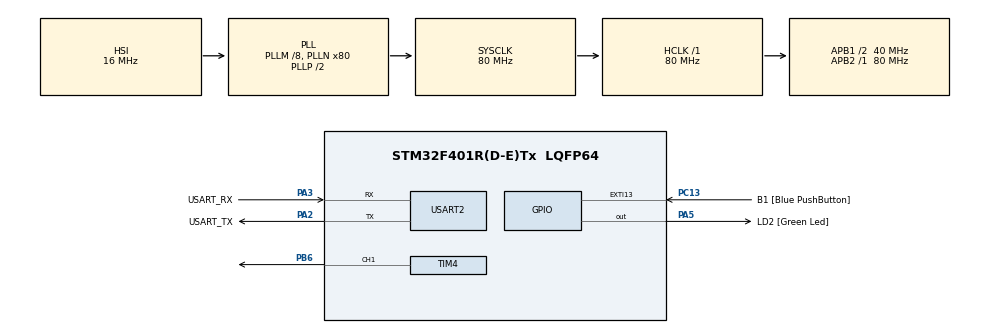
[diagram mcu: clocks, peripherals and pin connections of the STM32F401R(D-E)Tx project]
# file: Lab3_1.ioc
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Mcu.Family=STM32F4
Mcu.Name=STM32F401R(D-E)Tx
Mcu.Package=LQFP64
NVIC.EXTI15_10_IRQn=true\:2\:0\:true\:false\:true\:true\:true
NVIC.PriorityGroup=NVIC_PRIORITYGROUP_2
NVIC.TIM4_IRQn=true\:0\:0\:false\:false\:true\:true\:true
PA13.GPIO_Label=TMS
PA13.Mode=Serial_Wire
PA13.Signal=SYS_JTMS-SWDIO
PA14.GPIO_Label=TCK
PA14.Mode=Serial_Wire
PA14.Signal=SYS_JTCK-SWCLK
PA2.GPIO_Label=USART_TX
PA2.GPIO_Mode=GPIO_MODE_AF_PP
PA2.GPIO_PuPd=GPIO_NOPULL
PA2.GPIO_Speed=GPIO_SPEED_FREQ_LOW
PA2.Mode=Asynchronous
PA2.Signal=USART2_TX
PA3.GPIO_Label=USART_RX
PA3.GPIO_Mode=GPIO_MODE_AF_PP
PA3.GPIO_PuPd=GPIO_NOPULL
PA3.GPIO_Speed=GPIO_SPEED_FREQ_LOW
PA3.Mode=Asynchronous
PA3.Signal=USART2_RX
PA5.GPIO_Label=LD2 [Green Led]
PA5.GPIO_Mode=GPIO_MODE_OUTPUT_PP
PA5.GPIO_PuPd=GPIO_NOPULL
PA5.GPIO_Speed=GPIO_SPEED_FREQ_LOW
PA5.Signal=GPIO_Output
PB3.GPIO_Label=SWO
PB3.Signal=SYS_JTDO-SWO
PB6.Signal=S_TIM4_CH1
PC13-ANTI_TAMP.GPIO_Label=B1 [Blue PushButton]
PC13-ANTI_TAMP.GPIO_ModeDefaultEXTI=GPIO_MODE_IT_FALLING
PC13-ANTI_TAMP.GPIO_PuPd=GPIO_NOPULL
PC13-ANTI_TAMP.Signal=GPXTI13
PC14-OSC32_IN.Mode=LSE-External-Oscillator
PC14-OSC32_IN.Signal=RCC_OSC32_IN
PC15-OSC32_OUT.Mode=LSE-External-Oscillator
PC15-OSC32_OUT.Signal=RCC_OSC32_OUT
PH0\ -\ OSC_IN.Mode=HSE-External-Clock-Source
PH0\ -\ OSC_IN.Signal=RCC_OSC_IN
PH1\ -\ OSC_OUT.Mode=HSE-External-Clock-Source
PH1\ -\ OSC_OUT.Signal=RCC_OSC_OUT
ProjectManager.HeapSize=0x200
ProjectManager.StackSize=0x400
ProjectManager.TargetToolchain=STM32CubeIDE
RCC.48MHZClocksFreq_Value=22857142.85714286
RCC.AHBFreq_Value=80000000
RCC.APB1CLKDivider=RCC_HCLK_DIV2
RCC.APB1Freq_Value=40000000
RCC.APB1TimFreq_Value=80000000
RCC.APB2Freq_Value=80000000
RCC.APB2TimFreq_Value=80000000
RCC.CortexFreq_Value=80000000
RCC.HCLKFreq_Value=80000000
RCC.HSE_VALUE=8000000
RCC.HSI_VALUE=16000000
RCC.PLLM=8
RCC.PLLN=80
RCC.PLLQ=7
RCC.SYSCLKFreq_VALUE=80000000
RCC.SYSCLKSource=RCC_SYSCLKSOURCE_PLLCLK
RCC.VCOOutputFreq_Value=160000000
SH.S_TIM4_CH1.0=TIM4_CH1,PWM Generation1 CH1
TIM4.AutoReloadPreload=TIM_AUTORELOAD_PRELOAD_DISABLE
TIM4.Channel-PWM\ Generation1\ CH1=TIM_CHANNEL_1
TIM4.Period=10000-1
TIM4.Prescaler=8000-1
TIM4.Pulse-PWM\ Generation1\ CH1=100-1
USART2.VirtualMode=VM_ASYNC
VP_TIM4_VS_ClockSourceINT.Mode=Internal
board=NUCLEO-F401RE

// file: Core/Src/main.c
/* USER CODE BEGIN Header */
/**
  ******************************************************************************
  * @file           : main.c
  * @brief          : Main program body
  ******************************************************************************
  * @attention
  *
  * Copyright (c) 2022 STMicroelectronics.
  * All rights reserved.
  *
  * This software is licensed under terms that can be found in the LICENSE file
  * in the root directory of this software component.
  * If no LICENSE file comes with this software, it is provided AS-IS.
  *
  ******************************************************************************
  */
/* USER CODE END Header */
#include "main.h"

TIM_HandleTypeDef htim4;

UART_HandleTypeDef huart2;

void SystemClock_Config(void);
static void MX_GPIO_Init(void);
static void MX_USART2_UART_Init(void);
static void MX_TIM4_Init(void);

/* USER CODE BEGIN 0 */

//uint16_t timer_val;
//uint16_t interval[] = {2000,10000,50000};
//int p = 0;
int state = 0;

void HAL_GPIO_EXTI_Callback(uint16_t GPIO_Pin){
	//HAL_GPIO_TogglePin(LD2_GPIO_Port, LD2_Pin);

	state = (state+1)%3;
	//p = (p+1)%3;
	while(HAL_GPIO_ReadPin(B1_GPIO_Port, B1_Pin));
	HAL_Delay(100);
	__HAL_GPIO_EXTI_CLEAR_IT(GPIO_Pin);
}

/* USER CODE END 0 */

int main(void)
{

  /* MCU Configuration--------------------------------------------------------*/

  /* Reset of all peripherals, Initializes the Flash interface and the Systick. */
  HAL_Init();

  /* Configure the system clock */
  SystemClock_Config();

  /* Initialize all configured peripherals */
  MX_GPIO_Init();
  MX_USART2_UART_Init();
  MX_TIM4_Init();
  /* USER CODE BEGIN 2 */

  HAL_TIM_Base_Start_IT(&htim4);

  //HAL_TIM_PWM_Start_IT(&htim4, TIM_CHANNEL_1);

  //timer_val = __HAL_TIM_GET_COUNTER(&htim4);

  /* USER CODE END 2 */

  /* Infinite loop */
  while (1)
  {

    /* USER CODE BEGIN 3 */
//	if(__HAL_TIM_GET_COUNTER(&htim4)-timer_val >= interval[p]){
//		HAL_GPIO_TogglePin(LD2_GPIO_Port, LD2_Pin);
//		__HAL_TIM_RESET_HANDLE_STATE(&htim4);
//		timer_val = __HAL_TIM_GET_COUNTER(&htim4);
//	}

	if (state == 0) {
	    TIM4->ARR = 999;
	    TIM4->CCR3 = 0;
	} else if (state == 1){
	    TIM4->ARR = 4999;
	    TIM4->CCR3 = 0;
	} else if (state == 2) {
	   	TIM4->ARR = 24999;
	    TIM4->CCR3 = 0;
	}

  }
  /* USER CODE END 3 */
}

void SystemClock_Config(void)
{
  RCC_OscInitTypeDef RCC_OscInitStruct = {0};
  RCC_ClkInitTypeDef RCC_ClkInitStruct = {0};

  /** Configure the main internal regulator output voltage
  */
  __HAL_RCC_PWR_CLK_ENABLE();
  __HAL_PWR_VOLTAGESCALING_CONFIG(PWR_REGULATOR_VOLTAGE_SCALE2);
  /** Initializes the RCC Oscillators according to the specified parameters
  * in the RCC_OscInitTypeDef structure.
  */
  RCC_OscInitStruct.OscillatorType = RCC_OSCILLATORTYPE_HSI;
  RCC_OscInitStruct.HSIState = RCC_HSI_ON;
  RCC_OscInitStruct.HSICalibrationValue = RCC_HSICALIBRATION_DEFAULT;
  RCC_OscInitStruct.PLL.PLLState = RCC_PLL_ON;
  RCC_OscInitStruct.PLL.PLLSource = RCC_PLLSOURCE_HSI;
  RCC_OscInitStruct.PLL.PLLM = 8;
  RCC_OscInitStruct.PLL.PLLN = 80;
  RCC_OscInitStruct.PLL.PLLP = RCC_PLLP_DIV2;
  RCC_OscInitStruct.PLL.PLLQ = 7;
  if (HAL_RCC_OscConfig(&RCC_OscInitStruct) != HAL_OK)
  {
    Error_Handler();
  }
  /** Initializes the CPU, AHB and APB buses clocks
  */
  RCC_ClkInitStruct.ClockType = RCC_CLOCKTYPE_HCLK|RCC_CLOCKTYPE_SYSCLK
                              |RCC_CLOCKTYPE_PCLK1|RCC_CLOCKTYPE_PCLK2;
  RCC_ClkInitStruct.SYSCLKSource = RCC_SYSCLKSOURCE_PLLCLK;
  RCC_ClkInitStruct.AHBCLKDivider = RCC_SYSCLK_DIV1;
  RCC_ClkInitStruct.APB1CLKDivider = RCC_HCLK_DIV2;
  RCC_ClkInitStruct.APB2CLKDivider = RCC_HCLK_DIV1;

  if (HAL_RCC_ClockConfig(&RCC_ClkInitStruct, FLASH_LATENCY_2) != HAL_OK)
  {
    Error_Handler();
  }
}

static void MX_TIM4_Init(void)
{

  TIM_ClockConfigTypeDef sClockSourceConfig = {0};
  TIM_MasterConfigTypeDef sMasterConfig = {0};
  TIM_OC_InitTypeDef sConfigOC = {0};

  htim4.Instance = TIM4;
  htim4.Init.Prescaler = 8000-1;
  htim4.Init.CounterMode = TIM_COUNTERMODE_UP;
  htim4.Init.Period = 10000-1;
  htim4.Init.ClockDivision = TIM_CLOCKDIVISION_DIV1;
  htim4.Init.AutoReloadPreload = TIM_AUTORELOAD_PRELOAD_DISABLE;
  if (HAL_TIM_Base_Init(&htim4) != HAL_OK)
  {
    Error_Handler();
  }
  sClockSourceConfig.ClockSource = TIM_CLOCKSOURCE_INTERNAL;
  if (HAL_TIM_ConfigClockSource(&htim4, &sClockSourceConfig) != HAL_OK)
  {
    Error_Handler();
  }
  if (HAL_TIM_PWM_Init(&htim4) != HAL_OK)
  {
    Error_Handler();
  }
  sMasterConfig.MasterOutputTrigger = TIM_TRGO_RESET;
  sMasterConfig.MasterSlaveMode = TIM_MASTERSLAVEMODE_DISABLE;
  if (HAL_TIMEx_MasterConfigSynchronization(&htim4, &sMasterConfig) != HAL_OK)
  {
    Error_Handler();
  }
  sConfigOC.OCMode = TIM_OCMODE_PWM1;
  sConfigOC.Pulse = 100-1;
  sConfigOC.OCPolarity = TIM_OCPOLARITY_HIGH;
  sConfigOC.OCFastMode = TIM_OCFAST_DISABLE;
  if (HAL_TIM_PWM_ConfigChannel(&htim4, &sConfigOC, TIM_CHANNEL_1) != HAL_OK)
  {
    Error_Handler();
  }
  HAL_TIM_MspPostInit(&htim4);

}

static void MX_USART2_UART_Init(void)
{

  huart2.Instance = USART2;
  huart2.Init.BaudRate = 115200;
  huart2.Init.WordLength = UART_WORDLENGTH_8B;
  huart2.Init.StopBits = UART_STOPBITS_1;
  huart2.Init.Parity = UART_PARITY_NONE;
  huart2.Init.Mode = UART_MODE_TX_RX;
  huart2.Init.HwFlowCtl = UART_HWCONTROL_NONE;
  huart2.Init.OverSampling = UART_OVERSAMPLING_16;
  if (HAL_UART_Init(&huart2) != HAL_OK)
  {
    Error_Handler();
  }

}

static void MX_GPIO_Init(void)
{
  GPIO_InitTypeDef GPIO_InitStruct = {0};

  /* GPIO Ports Clock Enable */
  __HAL_RCC_GPIOC_CLK_ENABLE();
  __HAL_RCC_GPIOH_CLK_ENABLE();
  __HAL_RCC_GPIOA_CLK_ENABLE();
  __HAL_RCC_GPIOB_CLK_ENABLE();

  /*Configure GPIO pin Output Level */
  HAL_GPIO_WritePin(LD2_GPIO_Port, LD2_Pin, GPIO_PIN_RESET);

  /*Configure GPIO pin : B1_Pin */
  GPIO_InitStruct.Pin = B1_Pin;
  GPIO_InitStruct.Mode = GPIO_MODE_IT_FALLING;
  GPIO_InitStruct.Pull = GPIO_NOPULL;
  HAL_GPIO_Init(B1_GPIO_Port, &GPIO_InitStruct);

  /*Configure GPIO pin : LD2_Pin */
  GPIO_InitStruct.Pin = LD2_Pin;
  GPIO_InitStruct.Mode = GPIO_MODE_OUTPUT_PP;
  GPIO_InitStruct.Pull = GPIO_NOPULL;
  GPIO_InitStruct.Speed = GPIO_SPEED_FREQ_LOW;
  HAL_GPIO_Init(LD2_GPIO_Port, &GPIO_InitStruct);

  /* EXTI interrupt init*/
  HAL_NVIC_SetPriority(EXTI15_10_IRQn, 2, 0);
  HAL_NVIC_EnableIRQ(EXTI15_10_IRQn);

}

/* USER CODE BEGIN 4 */

void HAL_TIM_PeriodElapsedCallback(TIM_HandleTypeDef *htim){
	if(htim->Instance == TIM4){
		HAL_GPIO_TogglePin(LD2_GPIO_Port, LD2_Pin);
	}
}

/* USER CODE END 4 */

void Error_Handler(void)
{
  __disable_irq();
  while (1)
  {
  }
}
